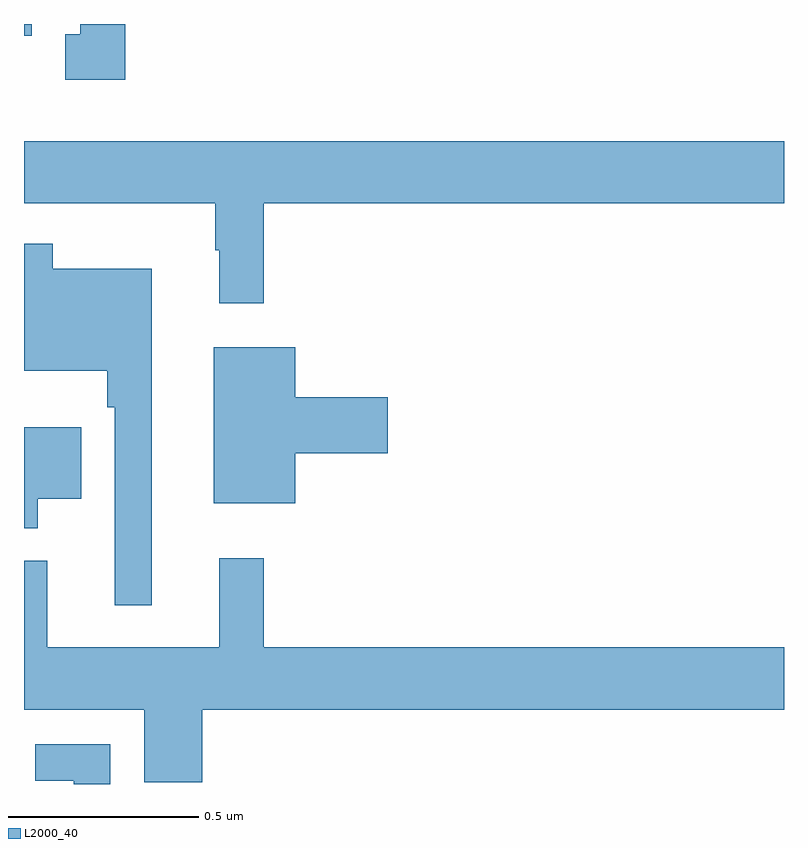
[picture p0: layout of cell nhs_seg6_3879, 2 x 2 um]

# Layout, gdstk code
import gdstk
lib = gdstk.Library(unit=1e-6, precision=1e-09)
def R(c, l, rs):  # rectangles x0, y0, x1, y1
    for r in rs: c.add(gdstk.rectangle(r[:2], r[2:], *l))
def P(c, l, *ps):  # polygons
    for p in ps: c.add(gdstk.Polygon(p, *l))
L2000_40 = (2000, 40)

nhs_seg6_3879 = lib.new_cell('nhs_seg6_3879')
R(nhs_seg6_3879, L2000_40, [(163,922.469,163.021,922.5)])
P(nhs_seg6_3879, L2000_40, [(163.267,922.5),(163.148,922.5),(163.148,922.473),(163.109,922.473),(163.109,922.353),(163.267,922.353)],
  [(163.631,922.028),(165,922.028),(165,922.192),(163,922.192),(163,922.028),(163.503,922.028),(163.503,921.905),(163.514,921.905),(163.514,921.765),(163.631,921.765)],
  [(163.336,921.856),(163.075,921.856),(163.075,921.922),(163,921.922),(163,921.587),(163.219,921.587),(163.219,921.491),(163.239,921.491),(163.239,920.97),(163.336,920.97)],
  [(163.714,921.371),(163.957,921.371),(163.957,921.518),(163.714,921.518),(163.714,921.649),(163.499,921.649),(163.499,921.239),(163.714,921.239)],
  [(163.036,921.251),(163.15,921.251),(163.15,921.439),(163,921.439),(163,921.173),(163.036,921.173)],
  [(163.469,920.696),(165,920.696),(165,920.86),(163.631,920.86),(163.631,921.094),(163.514,921.094),(163.514,920.86),(163.061,920.86),(163.061,921.088),(163,921.088),(163,920.696),(163.316,920.696),(163.316,920.504),(163.469,920.504)],
  [(163.227,920.604),(163.029,920.604),(163.029,920.508),(163.131,920.508),(163.131,920.5),(163.227,920.5)])

lib.write_gds('nhs_seg6_3879.gds')
